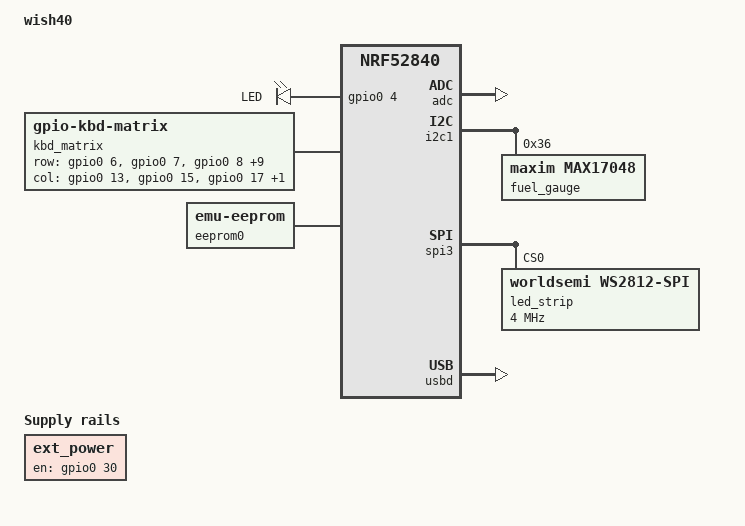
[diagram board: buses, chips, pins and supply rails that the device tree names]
/dts-v1/;
#include <nordic/nrf52840_qiaa.dtsi>
#include "wish40-pinctrl.dtsi"
#include <zephyr/dt-bindings/dt-util.h>      // BIT()
#include <zephyr/dt-bindings/led/led.h>      // LED_COLOR_ID_* (ws2812 color-mapping)

/*
 * wish40 — 40% 배열(42키), nRF52840 (E73-2G4M08S1C 모듈).
 *
 * 다른 보드와의 차이:
 *  - **MAX17048 연료게이지**(i2c1 @0x36). wish60/wish65 는 VDDH ADC 다 — 이 보드가 처음이다.
 *    driver/battery.c 가 DT 로 백엔드를 자동 선택한다(§6.3).
 *  - **네오픽셀 42개**(wish60 16 / wish65 18). 그래서 밝기 상한을 낮췄다 — config.h 참고.
 *  - **Caps LED 가 없다**. 디버그 LED(P0.04)만 있다 -> caps_led 노드 없음 = led_port.c 컴파일아웃.
 *  - **디버그 UART 가 없다**(회로도 확인 — H2 는 SWD 만). 콘솔 빌드(-d)를 쓸 수 없다.
 *  - 매트릭스는 wish60 과 같은 **row2col** 이다 -> MATRIX_DRIVE_IS_QMK_COL 불필요.
 */

/ {
	model = "wish40";
	compatible = "baram,wish40";

	chosen {
		zephyr,sram = &sram0;
		zephyr,flash = &flash0;
		zephyr,code-partition = &code_partition;
		/* zephyr,console 없음 — 이 보드엔 UART 가 없다(위 참고) */
	};

	/*
	 * 디버그용 LED (P0.04). 하트비트 등 개발 편의 — hw/driver/led.c. 키보드 기능과 무관.
	 * 기판의 LED2/LED3 는 충전기(TP4054) CHRG 표시라 MCU 가 구동하지 않는다.
	 *
	 * **Caps LED 는 없다**(회로도 확인) -> caps_led 노드를 두지 않는다. 그러면 hw_def.h 의
	 * DT_NODE_EXISTS 와 port/led_port.c 의 가드가 알아서 빠진다. 공통 코드는 손댈 게 없다(§4.1.2).
	 */
	leds {
		compatible = "gpio-leds";
		led: led_0 {
			gpios = <&gpio0 4 GPIO_ACTIVE_HIGH>;
			label = "LED";
		};
	};

	usb_hid_kbd: hid_kbd {
		compatible = "zephyr,hid-device";
		label = "HID_KBD";
		protocol-code = "keyboard";
		in-report-size = <64>;
		in-polling-period-us = <1000>;
	};

	usb_hid_via: hid_via {
		compatible = "zephyr,hid-device";
		label = "HID_VIA";
		protocol-code = "none";
		in-report-size = <32>;
		out-report-size = <32>;
		in-polling-period-us = <1000>;
		out-polling-period-us = <1000>;
	};

	usb_hid_exk: hid_exk {
		compatible = "zephyr,hid-device";
		label = "HID_EXK";
		protocol-code = "none";
		in-report-size = <64>;
		in-polling-period-us = <1000>;
	};

	/*
	 * 네오픽셀 전원 레일 (P0.30). 이 레일은 네오픽셀(VDD_OUT)만 끊는다 — 회로도 확인.
	 * regulator-boot-on 없음 = 부팅 시 꺼진 상태. RGB 를 켤 때만 올린다.
	 */
	ext_power: ext-power {
		compatible = "regulator-fixed";
		regulator-name = "ext-power";
		enable-gpios = <&gpio0 30 GPIO_ACTIVE_HIGH>;
		startup-delay-us = <1000>;
	};

	/*
	 * 키 매트릭스 — Zephyr 네이티브 gpio-kbd-matrix.
	 *
	 * [주의] Zephyr 명명은 QMK 와 반대다: row-gpios = **입력**, col-gpios = **구동 출력**.
	 * wish40 은 row2col(= wish60 과 같다) 이라 역매핑한다:
	 *   Zephyr row-gpios = 입력 12개 = **QMK col**   (ZMK 정의의 col-gpios, PULL_DOWN 이 붙은 쪽)
	 *   Zephyr col-gpios = 구동  4개 = **QMK row**   (ZMK 정의의 row-gpios)
	 * 배경은 docs/PORTING-NOTES.md §2.4 / §4.1.1.
	 */
	kbd_matrix: kbd-matrix {
		compatible = "gpio-kbd-matrix";

		row-gpios = <&gpio0  6 (GPIO_ACTIVE_HIGH | GPIO_PULL_DOWN)>,   /* wish40 col0  */
		            <&gpio0  7 (GPIO_ACTIVE_HIGH | GPIO_PULL_DOWN)>,   /* col1  */
		            <&gpio0  8 (GPIO_ACTIVE_HIGH | GPIO_PULL_DOWN)>,   /* col2  */
		            <&gpio0 12 (GPIO_ACTIVE_HIGH | GPIO_PULL_DOWN)>,   /* col3  */
		            <&gpio0 31 (GPIO_ACTIVE_HIGH | GPIO_PULL_DOWN)>,   /* col4  */
		            <&gpio1 13 (GPIO_ACTIVE_HIGH | GPIO_PULL_DOWN)>,   /* col5  */
		            <&gpio1 11 (GPIO_ACTIVE_HIGH | GPIO_PULL_DOWN)>,   /* col6  */
		            <&gpio1 10 (GPIO_ACTIVE_HIGH | GPIO_PULL_DOWN)>,   /* col7  */
		            <&gpio0 24 (GPIO_ACTIVE_HIGH | GPIO_PULL_DOWN)>,   /* col8  */
		            <&gpio1  6 (GPIO_ACTIVE_HIGH | GPIO_PULL_DOWN)>,   /* col9  */
		            <&gpio1  4 (GPIO_ACTIVE_HIGH | GPIO_PULL_DOWN)>,   /* col10 */
		            <&gpio1  2 (GPIO_ACTIVE_HIGH | GPIO_PULL_DOWN)>;   /* col11 */

		col-gpios = <&gpio0 13 GPIO_ACTIVE_HIGH>,                      /* wish40 row0 */
		            <&gpio0 15 GPIO_ACTIVE_HIGH>,                      /* row1 */
		            <&gpio0 17 GPIO_ACTIVE_HIGH>,                      /* row2 */
		            <&gpio0 20 GPIO_ACTIVE_HIGH>;                      /* row3 */

		idle-mode = "interrupt";   /* 키 없을 때 인터럽트 대기 → CPU sleep */
		wakeup-source;
		no-ghostkey-check;         /* 다이오드(row2col) 있으므로 고스팅 검사 불필요 */

		poll-period-ms   = <2>;    /* 구동이 GPIO 라 wish60 과 같다(595 가 아니다) */
		debounce-down-ms = <0>;    /* 디바운스는 QMK 가 담당 (이중 디바운스 방지) */
		debounce-up-ms   = <0>;
	};
};

&flash0 {
	/*
	 * wish60 과 같은 단일슬롯 레이아웃(둘 다 nRF52840 1MB). UF2 부트로더 전제.
	 * 반드시 --no-sysbuild 로 빌드할 것. §2.2/§2.3.
	 */
	partitions {
		compatible = "fixed-partitions";
		#address-cells = <1>;
		#size-cells = <1>;

		sd_partition: partition@0 {
			reg = <0x00000000 0x00001000>;
		};

		code_partition: partition@1000 {
			reg = <0x00001000 0x000d3000>;
		};

		/* QMK 키맵 영속화용 emu-eeprom 백엔드 (32KB) */
		eeprom_partition: partition@d4000 {
			label = "eeprom";
			reg = <0x000d4000 0x00008000>;
		};

		/* NVS/settings (BLE bond 등) */
		storage_partition: partition@dc000 {
			label = "storage";
			reg = <0x000dc000 0x00018000>;
		};

		boot_partition: partition@f4000 {
			reg = <0x000f4000 0x0000c000>;
		};
	};
};

/ {
	/* QMK dynamic_keymap 저장소. size 는 config.h 의 TOTAL_EEPROM_BYTE_COUNT 와 일치시킬 것. */
	eeprom0: eeprom {
		compatible = "zephyr,emu-eeprom";
		size = <4096>;
		pagesize = <0x2000>;
		partition = <&eeprom_partition>;
		rambuf;
		partition-erase;
	};
};

/*
 * sense-edge-mask — row-gpios(입력) 핀을 그대로 BIT() 로 나열한다. 빠지면 빌드 에러
 * (port/matrix.c 의 BUILD_ASSERT). deep sleep(System OFF)에서 GPIOTE 가 꺼지므로
 * DETECT/SENSE 로만 깨어날 수 있다. §3.5 참고.
 */
&gpio0 {
	status = "okay";
	sense-edge-mask = <(BIT(6) | BIT(7) | BIT(8) | BIT(12) | BIT(24) | BIT(31))>;
};

&gpio1 {
	status = "okay";
	sense-edge-mask = <(BIT(2) | BIT(4) | BIT(6) | BIT(10) | BIT(11) | BIT(13))>;
};

&gpiote {
	status = "okay";
};

/* MAX17048 이 있으므로 VDDH ADC 는 안 쓴다. adc 노드는 켜두되 battery.c 가 알아서 고른다(§6.3). */
&adc {
	status = "okay";
};

/*
 * 배터리 연료게이지 — **이 보드만 MAX17048 을 쓴다**(wish60/wish65 는 VDDH ADC).
 *
 * ZMK 는 자체 드라이버(zmk,maxim-max17048)를 쓰지만 우리는 **Zephyr 네이티브**를 쓴다
 * (drivers/fuel_gauge/max17048). 이식 코드 0 — kbd-matrix / ws2812 / regulator-fixed 와 같은 판단.
 * compatible 이 다르다: zmk,maxim-max17048 (X) -> maxim,max17048 (O)
 *
 * driver/battery.c 가 DT_HAS_COMPAT_STATUS_OKAY(maxim_max17048) 로 백엔드를 자동 선택한다.
 * Kconfig(CONFIG_FUEL_GAUGE / CONFIG_MAX17048 / CONFIG_I2C)는 보드 defconfig 에 있다.
 */
&i2c1 {
	status = "okay";
	compatible = "nordic,nrf-twi";
	pinctrl-0 = <&i2c1_default>;
	pinctrl-1 = <&i2c1_sleep>;
	pinctrl-names = "default", "sleep";

	fuel_gauge: max17048@36 {
		compatible = "maxim,max17048";
		status = "okay";
		reg = <0x36>;
	};
};

/*
 * 네오픽셀 — Zephyr 네이티브 worldsemi,ws2812-spi. 전원은 위 ext_power 레일이 공급한다.
 * MOSI 는 TXB0101 레벨시프터를 거쳐 VDD_OUT 도메인으로 나간다(회로도).
 */
&spi3 {
	compatible = "nordic,nrf-spim";
	status = "okay";

	pinctrl-0 = <&spi3_default>;
	pinctrl-1 = <&spi3_sleep>;
	pinctrl-names = "default", "sleep";

	led_strip: ws2812@0 {
		compatible = "worldsemi,ws2812-spi";
		reg = <0>;
		spi-max-frequency = <4000000>;

		chain-length = <42>;        /* wish40 LED 개수 (SK6812MINI-E) */
		spi-one-frame = <0x70>;
		spi-zero-frame = <0x40>;
		color-mapping = <LED_COLOR_ID_GREEN LED_COLOR_ID_RED LED_COLOR_ID_BLUE>;
	};
};

zephyr_udc0: &usbd {
	compatible = "nordic,nrf-usbd";
	status = "okay";
	num-bidir-endpoints = <0>;
	num-in-endpoints = <7>;
	num-out-endpoints = <2>;
	num-isoin-endpoints = <0>;
	num-isoout-endpoints = <0>;
};
